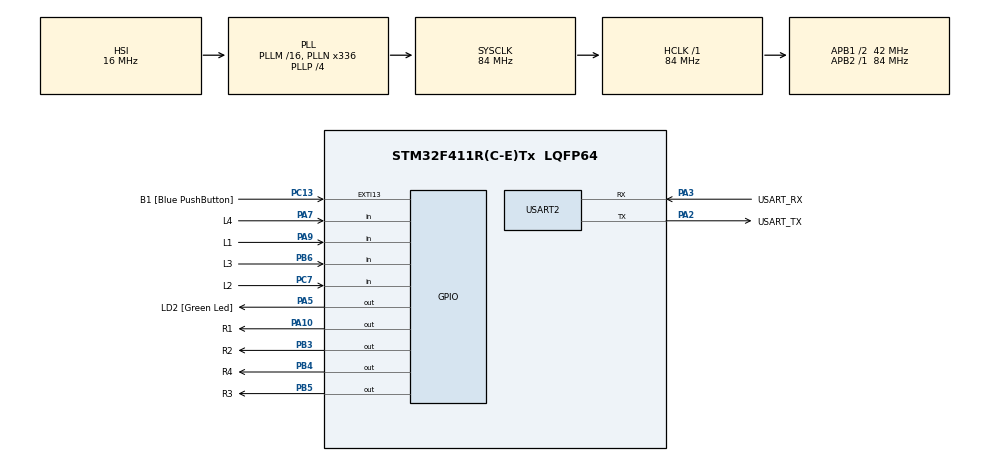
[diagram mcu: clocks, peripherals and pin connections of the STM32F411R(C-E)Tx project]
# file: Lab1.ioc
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Mcu.Family=STM32F4
Mcu.Name=STM32F411R(C-E)Tx
Mcu.Package=LQFP64
NVIC.PriorityGroup=NVIC_PRIORITYGROUP_0
PA10.GPIO_Label=R1
PA10.GPIO_ModeDefaultOutputPP=GPIO_MODE_OUTPUT_OD
PA10.GPIO_PuPd=GPIO_NOPULL
PA10.PinState=GPIO_PIN_SET
PA10.Signal=GPIO_Output
PA13.GPIO_Label=TMS
PA13.Mode=Serial_Wire
PA13.Signal=SYS_JTMS-SWDIO
PA14.GPIO_Label=TCK
PA14.Mode=Serial_Wire
PA14.Signal=SYS_JTCK-SWCLK
PA2.GPIO_Label=USART_TX
PA2.Mode=Asynchronous
PA2.Signal=USART2_TX
PA3.GPIO_Label=USART_RX
PA3.Mode=Asynchronous
PA3.Signal=USART2_RX
PA5.GPIO_Label=LD2 [Green Led]
PA5.Signal=GPIO_Output
PA7.GPIO_Label=L4
PA7.GPIO_PuPd=GPIO_PULLUP
PA7.Signal=GPIO_Input
PA9.GPIO_Label=L1
PA9.GPIO_PuPd=GPIO_PULLUP
PA9.Signal=GPIO_Input
PB3.GPIO_Label=R2
PB3.GPIO_ModeDefaultOutputPP=GPIO_MODE_OUTPUT_OD
PB3.GPIO_PuPd=GPIO_NOPULL
PB3.PinState=GPIO_PIN_SET
PB3.Signal=GPIO_Output
PB4.GPIO_Label=R4
PB4.GPIO_ModeDefaultOutputPP=GPIO_MODE_OUTPUT_OD
PB4.GPIO_PuPd=GPIO_NOPULL
PB4.PinState=GPIO_PIN_SET
PB4.Signal=GPIO_Output
PB5.GPIO_Label=R3
PB5.GPIO_ModeDefaultOutputPP=GPIO_MODE_OUTPUT_OD
PB5.GPIO_PuPd=GPIO_NOPULL
PB5.PinState=GPIO_PIN_SET
PB5.Signal=GPIO_Output
PB6.GPIO_Label=L3
PB6.GPIO_PuPd=GPIO_PULLUP
PB6.Signal=GPIO_Input
PC13-ANTI_TAMP.GPIO_Label=B1 [Blue PushButton]
PC13-ANTI_TAMP.GPIO_ModeDefaultEXTI=GPIO_MODE_IT_FALLING
PC13-ANTI_TAMP.Signal=GPXTI13
PC14-OSC32_IN.Mode=LSE-External-Oscillator
PC14-OSC32_IN.Signal=RCC_OSC32_IN
PC15-OSC32_OUT.Mode=LSE-External-Oscillator
PC15-OSC32_OUT.Signal=RCC_OSC32_OUT
PC7.GPIO_Label=L2
PC7.GPIO_PuPd=GPIO_PULLUP
PC7.Signal=GPIO_Input
PH0\ -\ OSC_IN.Mode=HSE-External-Clock-Source
PH0\ -\ OSC_IN.Signal=RCC_OSC_IN
PH1\ -\ OSC_OUT.Mode=HSE-External-Clock-Source
PH1\ -\ OSC_OUT.Signal=RCC_OSC_OUT
ProjectManager.HeapSize=0x200
ProjectManager.StackSize=0x400
ProjectManager.TargetToolchain=STM32CubeIDE
RCC.48MHZClocksFreq_Value=84000000
RCC.AHBFreq_Value=84000000
RCC.APB1CLKDivider=RCC_HCLK_DIV2
RCC.APB1Freq_Value=42000000
RCC.APB1TimFreq_Value=84000000
RCC.APB2Freq_Value=84000000
RCC.APB2TimFreq_Value=84000000
RCC.CortexFreq_Value=84000000
RCC.FLatency-AdvancedSettings=FLASH_LATENCY_2
RCC.HCLKFreq_Value=84000000
RCC.HSE_VALUE=8000000
RCC.HSI_VALUE=16000000
RCC.PLLN=336
RCC.PLLP=RCC_PLLP_DIV4
RCC.SYSCLKFreq_VALUE=84000000
RCC.SYSCLKSource=RCC_SYSCLKSOURCE_PLLCLK
RCC.VCOOutputFreq_Value=336000000
USART2.VirtualMode=VM_ASYNC
board=NUCLEO-F411RE

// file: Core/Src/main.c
/* USER CODE BEGIN Header */
/**
  ******************************************************************************
  * @file           : main.c
  * @brief          : Main program body
  ******************************************************************************
  * @attention
  *
  * Copyright (c) 2023 STMicroelectronics.
  * All rights reserved.
  *
  * This software is licensed under terms that can be found in the LICENSE file
  * in the root directory of this software component.
  * If no LICENSE file comes with this software, it is provided AS-IS.
  *
  ******************************************************************************
  */
/* USER CODE END Header */
#include "main.h"

UART_HandleTypeDef huart2;

/* USER CODE BEGIN PV */
typedef struct _PortPin
{
	GPIO_TypeDef* PORT;
	uint16_t PIN;
} PortPin;

PortPin R[4] =
{
		{GPIOA,GPIO_PIN_10},
		{GPIOB,GPIO_PIN_3},
		{GPIOB,GPIO_PIN_5},
		{GPIOB,GPIO_PIN_4}
};

PortPin L[4] =
{
		{GPIOA,GPIO_PIN_9},
		{GPIOC,GPIO_PIN_7},
		{GPIOB,GPIO_PIN_6},
		{GPIOA,GPIO_PIN_7}
};

uint16_t ButtonMatrix = 0;
int State = 0;

/* USER CODE END PV */

void SystemClock_Config(void);
static void MX_GPIO_Init(void);
static void MX_USART2_UART_Init(void);
/* USER CODE BEGIN PFP */
void ReadMatrixButton_1Row();
void PasswordState();

/* USER CODE END PFP */

int main(void)
{

  /* MCU Configuration--------------------------------------------------------*/

  /* Reset of all peripherals, Initializes the Flash interface and the Systick. */
  HAL_Init();

  /* Configure the system clock */
  SystemClock_Config();

  /* Initialize all configured peripherals */
  MX_GPIO_Init();
  MX_USART2_UART_Init();

  /* Infinite loop */
  while (1)
  {

    /* USER CODE BEGIN 3 */
	  static uint32_t timestamp = 0;
	  if(HAL_GetTick() >= timestamp)
	  {
		  timestamp = HAL_GetTick() + 10;
		  ReadMatrixButton();
		  PasswordState();
	  }
  }
  /* USER CODE END 3 */
}

void SystemClock_Config(void)
{
  RCC_OscInitTypeDef RCC_OscInitStruct = {0};
  RCC_ClkInitTypeDef RCC_ClkInitStruct = {0};

  /** Configure the main internal regulator output voltage
  */
  __HAL_RCC_PWR_CLK_ENABLE();
  __HAL_PWR_VOLTAGESCALING_CONFIG(PWR_REGULATOR_VOLTAGE_SCALE1);

  /** Initializes the RCC Oscillators according to the specified parameters
  * in the RCC_OscInitTypeDef structure.
  */
  RCC_OscInitStruct.OscillatorType = RCC_OSCILLATORTYPE_HSI;
  RCC_OscInitStruct.HSIState = RCC_HSI_ON;
  RCC_OscInitStruct.HSICalibrationValue = RCC_HSICALIBRATION_DEFAULT;
  RCC_OscInitStruct.PLL.PLLState = RCC_PLL_ON;
  RCC_OscInitStruct.PLL.PLLSource = RCC_PLLSOURCE_HSI;
  RCC_OscInitStruct.PLL.PLLM = 16;
  RCC_OscInitStruct.PLL.PLLN = 336;
  RCC_OscInitStruct.PLL.PLLP = RCC_PLLP_DIV4;
  RCC_OscInitStruct.PLL.PLLQ = 4;
  if (HAL_RCC_OscConfig(&RCC_OscInitStruct) != HAL_OK)
  {
    Error_Handler();
  }

  /** Initializes the CPU, AHB and APB buses clocks
  */
  RCC_ClkInitStruct.ClockType = RCC_CLOCKTYPE_HCLK|RCC_CLOCKTYPE_SYSCLK
                              |RCC_CLOCKTYPE_PCLK1|RCC_CLOCKTYPE_PCLK2;
  RCC_ClkInitStruct.SYSCLKSource = RCC_SYSCLKSOURCE_PLLCLK;
  RCC_ClkInitStruct.AHBCLKDivider = RCC_SYSCLK_DIV1;
  RCC_ClkInitStruct.APB1CLKDivider = RCC_HCLK_DIV2;
  RCC_ClkInitStruct.APB2CLKDivider = RCC_HCLK_DIV1;

  if (HAL_RCC_ClockConfig(&RCC_ClkInitStruct, FLASH_LATENCY_2) != HAL_OK)
  {
    Error_Handler();
  }
}

static void MX_USART2_UART_Init(void)
{

  huart2.Instance = USART2;
  huart2.Init.BaudRate = 115200;
  huart2.Init.WordLength = UART_WORDLENGTH_8B;
  huart2.Init.StopBits = UART_STOPBITS_1;
  huart2.Init.Parity = UART_PARITY_NONE;
  huart2.Init.Mode = UART_MODE_TX_RX;
  huart2.Init.HwFlowCtl = UART_HWCONTROL_NONE;
  huart2.Init.OverSampling = UART_OVERSAMPLING_16;
  if (HAL_UART_Init(&huart2) != HAL_OK)
  {
    Error_Handler();
  }

}

static void MX_GPIO_Init(void)
{
  GPIO_InitTypeDef GPIO_InitStruct = {0};

  /* GPIO Ports Clock Enable */
  __HAL_RCC_GPIOC_CLK_ENABLE();
  __HAL_RCC_GPIOH_CLK_ENABLE();
  __HAL_RCC_GPIOA_CLK_ENABLE();
  __HAL_RCC_GPIOB_CLK_ENABLE();

  /*Configure GPIO pin Output Level */
  HAL_GPIO_WritePin(LD2_GPIO_Port, LD2_Pin, GPIO_PIN_RESET);

  /*Configure GPIO pin Output Level */
  HAL_GPIO_WritePin(R1_GPIO_Port, R1_Pin, GPIO_PIN_SET);

  /*Configure GPIO pin Output Level */
  HAL_GPIO_WritePin(GPIOB, R2_Pin|R4_Pin|R3_Pin, GPIO_PIN_SET);

  /*Configure GPIO pin : B1_Pin */
  GPIO_InitStruct.Pin = B1_Pin;
  GPIO_InitStruct.Mode = GPIO_MODE_IT_FALLING;
  GPIO_InitStruct.Pull = GPIO_NOPULL;
  HAL_GPIO_Init(B1_GPIO_Port, &GPIO_InitStruct);

  /*Configure GPIO pin : LD2_Pin */
  GPIO_InitStruct.Pin = LD2_Pin;
  GPIO_InitStruct.Mode = GPIO_MODE_OUTPUT_PP;
  GPIO_InitStruct.Pull = GPIO_NOPULL;
  GPIO_InitStruct.Speed = GPIO_SPEED_FREQ_LOW;
  HAL_GPIO_Init(LD2_GPIO_Port, &GPIO_InitStruct);

  /*Configure GPIO pins : L4_Pin L1_Pin */
  GPIO_InitStruct.Pin = L4_Pin|L1_Pin;
  GPIO_InitStruct.Mode = GPIO_MODE_INPUT;
  GPIO_InitStruct.Pull = GPIO_PULLUP;
  HAL_GPIO_Init(GPIOA, &GPIO_InitStruct);

  /*Configure GPIO pin : L2_Pin */
  GPIO_InitStruct.Pin = L2_Pin;
  GPIO_InitStruct.Mode = GPIO_MODE_INPUT;
  GPIO_InitStruct.Pull = GPIO_PULLUP;
  HAL_GPIO_Init(L2_GPIO_Port, &GPIO_InitStruct);

  /*Configure GPIO pin : R1_Pin */
  GPIO_InitStruct.Pin = R1_Pin;
  GPIO_InitStruct.Mode = GPIO_MODE_OUTPUT_OD;
  GPIO_InitStruct.Pull = GPIO_NOPULL;
  GPIO_InitStruct.Speed = GPIO_SPEED_FREQ_LOW;
  HAL_GPIO_Init(R1_GPIO_Port, &GPIO_InitStruct);

  /*Configure GPIO pins : R2_Pin R4_Pin R3_Pin */
  GPIO_InitStruct.Pin = R2_Pin|R4_Pin|R3_Pin;
  GPIO_InitStruct.Mode = GPIO_MODE_OUTPUT_OD;
  GPIO_InitStruct.Pull = GPIO_NOPULL;
  GPIO_InitStruct.Speed = GPIO_SPEED_FREQ_LOW;
  HAL_GPIO_Init(GPIOB, &GPIO_InitStruct);

  /*Configure GPIO pin : L3_Pin */
  GPIO_InitStruct.Pin = L3_Pin;
  GPIO_InitStruct.Mode = GPIO_MODE_INPUT;
  GPIO_InitStruct.Pull = GPIO_PULLUP;
  HAL_GPIO_Init(L3_GPIO_Port, &GPIO_InitStruct);

}

/* USER CODE BEGIN 4 */
void ReadMatrixButton()
{
	static uint8_t X = 0;
	register int i;
	for (i = 0; i < 4; i++)
	{
		if(HAL_GPIO_ReadPin(L[i].PORT, L[i].PIN))
		{
			ButtonMatrix &= ~(1<<(X*4+i));
		}
		else
		{
			ButtonMatrix |= 1<<(X*4+i);
		}
	}

	HAL_GPIO_WritePin(R[X].PORT, R[X].PIN, 1);

	HAL_GPIO_WritePin(R[(X+1)%4].PORT, R[(X+1)%4].PIN, 0);
	X++;
	X%=4;
}

void PasswordState()
{
	switch(State)
	{
		default:
		case 0:
			HAL_GPIO_WritePin(GPIOA,GPIO_PIN_5,GPIO_PIN_RESET);
			if(ButtonMatrix == 512){State = 1;}	//6
			else if(ButtonMatrix == 4096){State = 0;} //Clear
			else if(ButtonMatrix==1||ButtonMatrix==2||ButtonMatrix==4||ButtonMatrix==8||ButtonMatrix==16||ButtonMatrix==32||ButtonMatrix==64||ButtonMatrix==256||ButtonMatrix==1024){State = 12;}
		break;
		case 1:
			if(ButtonMatrix == 2){State = 2;} //4
			else if(ButtonMatrix == 4096){State = 0;} //Clear
			else if(ButtonMatrix==1||ButtonMatrix==4||ButtonMatrix==8||ButtonMatrix==16||ButtonMatrix==32||ButtonMatrix==64||ButtonMatrix==256||ButtonMatrix==512||ButtonMatrix==1024){State = 12;}
		break;
		case 2:
			if(ButtonMatrix == 1024){State = 3;} //3
			else if(ButtonMatrix == 4096){State = 0;} //Clear
			else if(ButtonMatrix==1||ButtonMatrix==2||ButtonMatrix==4||ButtonMatrix==8||ButtonMatrix==16||ButtonMatrix==32||ButtonMatrix==64||ButtonMatrix==256||ButtonMatrix==512){State = 12;}
		break;
		case 3:
			if(ButtonMatrix == 2){State = 4;} //4
			else if(ButtonMatrix == 4096){State = 0;} //Clear
			else if(ButtonMatrix==1||ButtonMatrix==4||ButtonMatrix==8||ButtonMatrix==16||ButtonMatrix==32||ButtonMatrix==64||ButtonMatrix==256||ButtonMatrix==512||ButtonMatrix==1024){State = 12;}
		break;
		case 4:
			if(ButtonMatrix == 8){State = 5;} //0
			else if(ButtonMatrix == 4096){State = 0;} //Clear
			else if(ButtonMatrix==1||ButtonMatrix==2||ButtonMatrix==4||ButtonMatrix==16||ButtonMatrix==32||ButtonMatrix==64||ButtonMatrix==256||ButtonMatrix==512||ButtonMatrix==1024){State = 12;}
		break;
		case 5:
			if(ButtonMatrix == 32){State = 6;} //5
			else if(ButtonMatrix == 4096){State = 0;} //Clear
			else if(ButtonMatrix==1||ButtonMatrix==2||ButtonMatrix==4||ButtonMatrix==8||ButtonMatrix==16||ButtonMatrix==64||ButtonMatrix==256||ButtonMatrix==512||ButtonMatrix==1024){State = 12;}
		break;
		case 6:
			if(ButtonMatrix == 8){State = 7;} //0
			else if(ButtonMatrix == 4096){State = 0;} //Clear
			else if(ButtonMatrix==1||ButtonMatrix==2||ButtonMatrix==4||ButtonMatrix==16||ButtonMatrix==32||ButtonMatrix==64||ButtonMatrix==256||ButtonMatrix==512||ButtonMatrix==1024){State = 12;}
		break;
		case 7:
			if(ButtonMatrix == 8){State = 8;} //0
			else if(ButtonMatrix == 4096){State = 0;} //Clear
			else if(ButtonMatrix==1||ButtonMatrix==2||ButtonMatrix==4||ButtonMatrix==16||ButtonMatrix==32||ButtonMatrix==64||ButtonMatrix==256||ButtonMatrix==512||ButtonMatrix==1024){State = 12;}
		break;
		case 8:
			if(ButtonMatrix == 8){State = 9;} //0
			else if(ButtonMatrix == 4096){State = 0;} //Clear
			else if(ButtonMatrix==1||ButtonMatrix==2||ButtonMatrix==4||ButtonMatrix==16||ButtonMatrix==32||ButtonMatrix==64||ButtonMatrix==256||ButtonMatrix==512||ButtonMatrix==1024){State = 12;}
		break;
		case 9:
			if(ButtonMatrix == 512){State = 10;} //6
			else if(ButtonMatrix == 4096){State = 0;} //Clear
			else if(ButtonMatrix==1||ButtonMatrix==2||ButtonMatrix==4||ButtonMatrix==8||ButtonMatrix==16||ButtonMatrix==32||ButtonMatrix==64||ButtonMatrix==256||ButtonMatrix==1024){State = 12;}
		break;
		case 10:
			if(ButtonMatrix == 1024){State = 11;} //3
			else if(ButtonMatrix == 4096){State = 0;} //Clear
			else if(ButtonMatrix==1||ButtonMatrix==2||ButtonMatrix==4||ButtonMatrix==8||ButtonMatrix==16||ButtonMatrix==32||ButtonMatrix==64||ButtonMatrix==256||ButtonMatrix==512){State = 12;}
		break;
		case 11:
			if(ButtonMatrix == 32768){HAL_GPIO_WritePin(GPIOA,GPIO_PIN_5,GPIO_PIN_SET);} //Ok
			else if(ButtonMatrix == 4096){State = 0;} //Clear
			else if(ButtonMatrix==1||ButtonMatrix==2||ButtonMatrix==4||ButtonMatrix==8||ButtonMatrix==16||ButtonMatrix==32||ButtonMatrix==64||ButtonMatrix==256||ButtonMatrix==512||ButtonMatrix==1024){State = 12;}
		break;
		case 12:
			if(ButtonMatrix == 4096){State = 0;} //Clear
		break;
	}
}
/* USER CODE END 4 */

void Error_Handler(void)
{
  __disable_irq();
  while (1)
  {
  }
}
